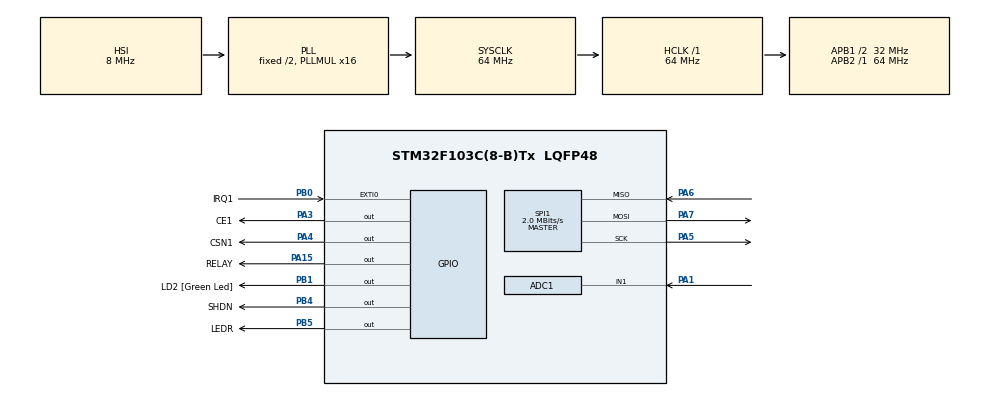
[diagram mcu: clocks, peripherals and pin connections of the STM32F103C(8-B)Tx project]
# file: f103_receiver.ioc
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ADC1.Channel-1\#ChannelRegularConversion=ADC_CHANNEL_VREFINT
ADC1.Channel-2\#ChannelRegularConversion=ADC_CHANNEL_1
ADC1.ContinuousConvMode=ENABLE
ADC1.EnableRegularConversion=ENABLE
ADC1.NbrOfConversion=2
ADC1.NbrOfConversionFlag=1
ADC1.Rank-1\#ChannelRegularConversion=1
ADC1.Rank-2\#ChannelRegularConversion=2
ADC1.SamplingTime-1\#ChannelRegularConversion=ADC_SAMPLETIME_13CYCLES_5
ADC1.SamplingTime-2\#ChannelRegularConversion=ADC_SAMPLETIME_13CYCLES_5
ADC1.master=1
Dma.ADC1.0.Direction=DMA_PERIPH_TO_MEMORY
Dma.ADC1.0.Instance=DMA1_Channel1
Dma.ADC1.0.MemDataAlignment=DMA_MDATAALIGN_HALFWORD
Dma.ADC1.0.MemInc=DMA_MINC_ENABLE
Dma.ADC1.0.Mode=DMA_CIRCULAR
Dma.ADC1.0.PeriphDataAlignment=DMA_PDATAALIGN_HALFWORD
Dma.ADC1.0.PeriphInc=DMA_PINC_DISABLE
Dma.ADC1.0.Priority=DMA_PRIORITY_LOW
Dma.Request0=ADC1
Mcu.Family=STM32F1
Mcu.Name=STM32F103C(8-B)Tx
Mcu.Package=LQFP48
NVIC.DMA1_Channel1_IRQn=true\:0\:0\:false\:false\:true\:false\:true
NVIC.EXTI0_IRQn=true\:0\:0\:false\:false\:true\:true\:true
NVIC.PriorityGroup=NVIC_PRIORITYGROUP_4
NVIC.TIM1_UP_IRQn=true\:0\:0\:false\:false\:true\:true\:true
PA1.Signal=ADCx_IN1
PA13.Mode=Serial_Wire
PA13.Signal=SYS_JTMS-SWDIO
PA14.Mode=Serial_Wire
PA14.Signal=SYS_JTCK-SWCLK
PA15.GPIO_Label=RELAY
PA15.Signal=GPIO_Output
PA3.GPIO_Label=CE1
PA3.Signal=GPIO_Output
PA4.GPIO_Label=CSN1
PA4.Signal=GPIO_Output
PA5.Mode=Full_Duplex_Master
PA5.Signal=SPI1_SCK
PA6.Mode=Full_Duplex_Master
PA6.Signal=SPI1_MISO
PA7.Mode=Full_Duplex_Master
PA7.Signal=SPI1_MOSI
PB0.GPIO_Label=IRQ1
PB0.GPIO_ModeDefaultEXTI=GPIO_MODE_IT_FALLING
PB0.GPIO_PuPd=GPIO_NOPULL
PB0.Signal=GPXTI0
PB1.GPIO_Label=LD2 [Green Led]
PB1.Signal=GPIO_Output
PB4.GPIO_Label=SHDN
PB4.GPIO_PuPd=GPIO_PULLUP
PB4.Signal=GPIO_Output
PB5.GPIO_Label=LEDR
PB5.Signal=GPIO_Output
ProjectManager.HeapSize=0x200
ProjectManager.StackSize=0x400
ProjectManager.TargetToolchain=MDK-ARM V5
RCC.ADCPresc=RCC_ADCPCLK2_DIV8
RCC.AHBFreq_Value=64000000
RCC.APB1CLKDivider=RCC_HCLK_DIV2
RCC.APB1Freq_Value=32000000
RCC.APB1TimFreq_Value=64000000
RCC.APB2Freq_Value=64000000
RCC.APB2TimFreq_Value=64000000
RCC.HCLKFreq_Value=64000000
RCC.PLLMUL=RCC_PLL_MUL16
RCC.SYSCLKFreq_VALUE=64000000
RCC.SYSCLKSource=RCC_SYSCLKSOURCE_PLLCLK
RCC.USBFreq_Value=64000000
SH.ADCx_IN1.0=ADC1_IN1,IN1
SPI1.BaudRatePrescaler=SPI_BAUDRATEPRESCALER_32
SPI1.CalculateBaudRate=2.0 MBits/s
SPI1.Direction=SPI_DIRECTION_2LINES
SPI1.Mode=SPI_MODE_MASTER
SPI1.VirtualType=VM_MASTER
TIM1.Period=3000
TIM1.Prescaler=6399
VP_ADC1_Vref_Input.Mode=IN-Vrefint
VP_TIM1_VS_ClockSourceINT.Mode=Internal
board=custom

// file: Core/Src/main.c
/* USER CODE BEGIN Header */
/**
  ******************************************************************************

	Checking the battery voltage is written in stm32f1xx_it.c in void DMA1_Channel1_IRQHandler(void)
  ******************************************************************************
  */
/**
  ******************************************************************************
  * @file           : main.c
  * @brief          : Main program body
  ******************************************************************************
  * @attention
  *
  * <h2><center>&copy; Copyright (c) 2022 STMicroelectronics.
  * All rights reserved.</center></h2>
  *
  * This software component is licensed by ST under BSD 3-Clause license,
  * the "License"; You may not use this file except in compliance with the
  * License. You may obtain a copy of the License at:
  *                        opensource.org/licenses/BSD-3-Clause
  *
  ******************************************************************************
  */

/* USER CODE END Header */
#include "main.h"

/* USER CODE BEGIN Includes */
#include "NRF24.h"

#include <string.h>
/* USER CODE END Includes */

ADC_HandleTypeDef hadc1;
DMA_HandleTypeDef hdma_adc1;

SPI_HandleTypeDef hspi1;

TIM_HandleTypeDef htim1;

/* USER CODE BEGIN PV */
char str1[20]={0};

uint8_t buf1[1]={0};
uint8_t buf2[1]={0};
uint8_t dt_reg=0;
uint16_t ADC[2]={0};//buffer for reading battery voltage
float mcuVoltage = 0;// MCU supply Voltage
float batteryVoltage = 0;// Battery voltage
uint8_t receive=0x03;// Data to understand if button is pushed
/* USER CODE END PV */

void SystemClock_Config(void);
static void MX_GPIO_Init(void);
static void MX_SPI1_Init(void);
static void MX_TIM1_Init(void);
static void MX_DMA_Init(void);
static void MX_ADC1_Init(void);

int main(void)
{
  /* USER CODE BEGIN 1 */
	uint8_t retr_cnt, dt;
	uint8_t i=0;
  /* USER CODE END 1 */

  /* MCU Configuration--------------------------------------------------------*/

  /* Reset of all peripherals, Initializes the Flash interface and the Systick. */
  HAL_Init();

  /* Configure the system clock */
  SystemClock_Config();

  /* Initialize all configured peripherals */
  MX_GPIO_Init();
  MX_SPI1_Init();
  MX_TIM1_Init();
  MX_DMA_Init();
  MX_ADC1_Init();
  /* USER CODE BEGIN 2 */
	HAL_TIM_Base_Start_IT(&htim1);
	NRF24_ini();
	HAL_GPIO_WritePin(SHDN_GPIO_Port, SHDN_Pin, GPIO_PIN_SET);
	HAL_ADCEx_Calibration_Start(&hadc1);
	HAL_ADC_Start_DMA ( &hadc1,  (uint32_t*)ADC, 2);
	HAL_Delay(200);
  /* USER CODE END 2 */

  /* Infinite loop */
  /* USER CODE BEGIN WHILE */
  while (1)
  {
		//		do
//		{
//			HAL_Delay(300);
//			mcuVoltage = ADC_MAX * ADC_REFERENCE_VOLTAGE / ADC[0];
//			batteryVoltage = 2 * ADC[1] * mcuVoltage / ADC_MAX;
		//LED2_TGL;
//			receive=NRF24L01_Receive();
//			i++;
//		}
//		while (receive!=0x85 && receive!=0x6F && i<15);

//	receive=NRF24L01_Receive();

	dt_reg = NRF24_ReadReg(CONFIG);

  sprintf(str1,"CONFIG: 0x%02X\r\n",dt_reg);
	sprintf(str1,"CONFIG: 0x%02X\r\n",dt_reg);
//  HAL_UART_Transmit(&huart1,(uint8_t*)str1,strlen(str1),0x1000);

  dt_reg = NRF24_ReadReg(EN_AA);

  sprintf(str1,"EN_AA: 0x%02X\r\n",dt_reg);

//  HAL_UART_Transmit(&huart1,(uint8_t*)str1,strlen(str1),0x1000);

  dt_reg = NRF24_ReadReg(EN_RXADDR);

  sprintf(str1,"EN_RXADDR: 0x%02X\r\n",dt_reg);

//  HAL_UART_Transmit(&huart1,(uint8_t*)str1,strlen(str1),0x1000);

  dt_reg = NRF24_ReadReg(STATUS);

  sprintf(str1,"STATUS: 0x%02X\r\n",dt_reg);

//  HAL_UART_Transmit(&huart1,(uint8_t*)str1,strlen(str1),0x1000);

  dt_reg = NRF24_ReadReg(RF_SETUP);

  sprintf(str1,"RF_SETUP: 0x%02X\r\n",dt_reg);

//  HAL_UART_Transmit(&huart1,(uint8_t*)str1,strlen(str1),0x1000);

//  NRF24_Read_Buf(TX_ADDR,buf1,3);

//  sprintf(str1,"TX_ADDR: 0x%02X, 0x%02X, 0x%02Xrn",buf1[0],buf1[1],buf1[2]);

//  HAL_UART_Transmit(&huart1,(uint8_t*)str1,strlen(str1),0x1000);

//  NRF24_Read_Buf(RX_ADDR_P1,buf1,3);

//  sprintf(str1,"RX_ADDR: 0x%02X, 0x%02X, 0x%02Xrn",buf1[0],buf1[1],buf1[2]);

//  HAL_UART_Transmit(&huart1,(uint8_t*)str1,strlen(str1),0x1000);
    /* USER CODE END WHILE */

  }
}

void SystemClock_Config(void)
{
  RCC_OscInitTypeDef RCC_OscInitStruct = {0};
  RCC_ClkInitTypeDef RCC_ClkInitStruct = {0};
  RCC_PeriphCLKInitTypeDef PeriphClkInit = {0};

  /** Initializes the RCC Oscillators according to the specified parameters
  * in the RCC_OscInitTypeDef structure.
  */
  RCC_OscInitStruct.OscillatorType = RCC_OSCILLATORTYPE_HSI;
  RCC_OscInitStruct.HSIState = RCC_HSI_ON;
  RCC_OscInitStruct.HSICalibrationValue = RCC_HSICALIBRATION_DEFAULT;
  RCC_OscInitStruct.PLL.PLLState = RCC_PLL_ON;
  RCC_OscInitStruct.PLL.PLLSource = RCC_PLLSOURCE_HSI_DIV2;
  RCC_OscInitStruct.PLL.PLLMUL = RCC_PLL_MUL16;
  if (HAL_RCC_OscConfig(&RCC_OscInitStruct) != HAL_OK)
  {
    Error_Handler();
  }
  /** Initializes the CPU, AHB and APB buses clocks
  */
  RCC_ClkInitStruct.ClockType = RCC_CLOCKTYPE_HCLK|RCC_CLOCKTYPE_SYSCLK
                              |RCC_CLOCKTYPE_PCLK1|RCC_CLOCKTYPE_PCLK2;
  RCC_ClkInitStruct.SYSCLKSource = RCC_SYSCLKSOURCE_PLLCLK;
  RCC_ClkInitStruct.AHBCLKDivider = RCC_SYSCLK_DIV1;
  RCC_ClkInitStruct.APB1CLKDivider = RCC_HCLK_DIV2;
  RCC_ClkInitStruct.APB2CLKDivider = RCC_HCLK_DIV1;

  if (HAL_RCC_ClockConfig(&RCC_ClkInitStruct, FLASH_LATENCY_2) != HAL_OK)
  {
    Error_Handler();
  }
  PeriphClkInit.PeriphClockSelection = RCC_PERIPHCLK_ADC;
  PeriphClkInit.AdcClockSelection = RCC_ADCPCLK2_DIV8;
  if (HAL_RCCEx_PeriphCLKConfig(&PeriphClkInit) != HAL_OK)
  {
    Error_Handler();
  }
}

static void MX_ADC1_Init(void)
{

  ADC_ChannelConfTypeDef sConfig = {0};

  /** Common config
  */
  hadc1.Instance = ADC1;
  hadc1.Init.ScanConvMode = ADC_SCAN_ENABLE;
  hadc1.Init.ContinuousConvMode = ENABLE;
  hadc1.Init.DiscontinuousConvMode = DISABLE;
  hadc1.Init.ExternalTrigConv = ADC_SOFTWARE_START;
  hadc1.Init.DataAlign = ADC_DATAALIGN_RIGHT;
  hadc1.Init.NbrOfConversion = 2;
  if (HAL_ADC_Init(&hadc1) != HAL_OK)
  {
    Error_Handler();
  }
  /** Configure Regular Channel
  */
  sConfig.Channel = ADC_CHANNEL_VREFINT;
  sConfig.Rank = ADC_REGULAR_RANK_1;
  sConfig.SamplingTime = ADC_SAMPLETIME_13CYCLES_5;
  if (HAL_ADC_ConfigChannel(&hadc1, &sConfig) != HAL_OK)
  {
    Error_Handler();
  }
  /** Configure Regular Channel
  */
  sConfig.Channel = ADC_CHANNEL_1;
  sConfig.Rank = ADC_REGULAR_RANK_2;
  if (HAL_ADC_ConfigChannel(&hadc1, &sConfig) != HAL_OK)
  {
    Error_Handler();
  }

}

static void MX_SPI1_Init(void)
{

  /* SPI1 parameter configuration*/
  hspi1.Instance = SPI1;
  hspi1.Init.Mode = SPI_MODE_MASTER;
  hspi1.Init.Direction = SPI_DIRECTION_2LINES;
  hspi1.Init.DataSize = SPI_DATASIZE_8BIT;
  hspi1.Init.CLKPolarity = SPI_POLARITY_LOW;
  hspi1.Init.CLKPhase = SPI_PHASE_1EDGE;
  hspi1.Init.NSS = SPI_NSS_SOFT;
  hspi1.Init.BaudRatePrescaler = SPI_BAUDRATEPRESCALER_32;
  hspi1.Init.FirstBit = SPI_FIRSTBIT_MSB;
  hspi1.Init.TIMode = SPI_TIMODE_DISABLE;
  hspi1.Init.CRCCalculation = SPI_CRCCALCULATION_DISABLE;
  hspi1.Init.CRCPolynomial = 10;
  if (HAL_SPI_Init(&hspi1) != HAL_OK)
  {
    Error_Handler();
  }

}

static void MX_TIM1_Init(void)
{

  TIM_ClockConfigTypeDef sClockSourceConfig = {0};
  TIM_MasterConfigTypeDef sMasterConfig = {0};

  htim1.Instance = TIM1;
  htim1.Init.Prescaler = 6399;
  htim1.Init.CounterMode = TIM_COUNTERMODE_UP;
  htim1.Init.Period = 3000;
  htim1.Init.ClockDivision = TIM_CLOCKDIVISION_DIV1;
  htim1.Init.RepetitionCounter = 0;
  htim1.Init.AutoReloadPreload = TIM_AUTORELOAD_PRELOAD_DISABLE;
  if (HAL_TIM_Base_Init(&htim1) != HAL_OK)
  {
    Error_Handler();
  }
  sClockSourceConfig.ClockSource = TIM_CLOCKSOURCE_INTERNAL;
  if (HAL_TIM_ConfigClockSource(&htim1, &sClockSourceConfig) != HAL_OK)
  {
    Error_Handler();
  }
  sMasterConfig.MasterOutputTrigger = TIM_TRGO_RESET;
  sMasterConfig.MasterSlaveMode = TIM_MASTERSLAVEMODE_DISABLE;
  if (HAL_TIMEx_MasterConfigSynchronization(&htim1, &sMasterConfig) != HAL_OK)
  {
    Error_Handler();
  }

}

static void MX_DMA_Init(void)
{

  /* DMA controller clock enable */
  __HAL_RCC_DMA1_CLK_ENABLE();

  /* DMA interrupt init */
  /* DMA1_Channel1_IRQn interrupt configuration */
  HAL_NVIC_SetPriority(DMA1_Channel1_IRQn, 0, 0);
  HAL_NVIC_EnableIRQ(DMA1_Channel1_IRQn);

}

static void MX_GPIO_Init(void)
{
  GPIO_InitTypeDef GPIO_InitStruct = {0};

  /* GPIO Ports Clock Enable */
  __HAL_RCC_GPIOA_CLK_ENABLE();
  __HAL_RCC_GPIOB_CLK_ENABLE();

  /*Configure GPIO pin Output Level */
  HAL_GPIO_WritePin(GPIOA, CE1_Pin|CSN1_Pin|RELAY_Pin, GPIO_PIN_RESET);

  /*Configure GPIO pin Output Level */
  HAL_GPIO_WritePin(GPIOB, LD2_Pin|SHDN_Pin|LEDR_Pin, GPIO_PIN_RESET);

  /*Configure GPIO pins : CE1_Pin CSN1_Pin RELAY_Pin */
  GPIO_InitStruct.Pin = CE1_Pin|CSN1_Pin|RELAY_Pin;
  GPIO_InitStruct.Mode = GPIO_MODE_OUTPUT_PP;
  GPIO_InitStruct.Pull = GPIO_NOPULL;
  GPIO_InitStruct.Speed = GPIO_SPEED_FREQ_LOW;
  HAL_GPIO_Init(GPIOA, &GPIO_InitStruct);

  /*Configure GPIO pin : IRQ1_Pin */
  GPIO_InitStruct.Pin = IRQ1_Pin;
  GPIO_InitStruct.Mode = GPIO_MODE_IT_FALLING;
  GPIO_InitStruct.Pull = GPIO_NOPULL;
  HAL_GPIO_Init(IRQ1_GPIO_Port, &GPIO_InitStruct);

  /*Configure GPIO pins : LD2_Pin LEDR_Pin */
  GPIO_InitStruct.Pin = LD2_Pin|LEDR_Pin;
  GPIO_InitStruct.Mode = GPIO_MODE_OUTPUT_PP;
  GPIO_InitStruct.Pull = GPIO_NOPULL;
  GPIO_InitStruct.Speed = GPIO_SPEED_FREQ_LOW;
  HAL_GPIO_Init(GPIOB, &GPIO_InitStruct);

  /*Configure GPIO pin : SHDN_Pin */
  GPIO_InitStruct.Pin = SHDN_Pin;
  GPIO_InitStruct.Mode = GPIO_MODE_OUTPUT_PP;
  GPIO_InitStruct.Pull = GPIO_PULLUP;
  GPIO_InitStruct.Speed = GPIO_SPEED_FREQ_LOW;
  HAL_GPIO_Init(SHDN_GPIO_Port, &GPIO_InitStruct);

  /* EXTI interrupt init*/
  HAL_NVIC_SetPriority(EXTI0_IRQn, 0, 0);
  HAL_NVIC_EnableIRQ(EXTI0_IRQn);

}

void Error_Handler(void)
{
  __disable_irq();
  while (1)
  {
  }
}

/************************ (C) COPYRIGHT STMicroelectronics *****END OF FILE****/
